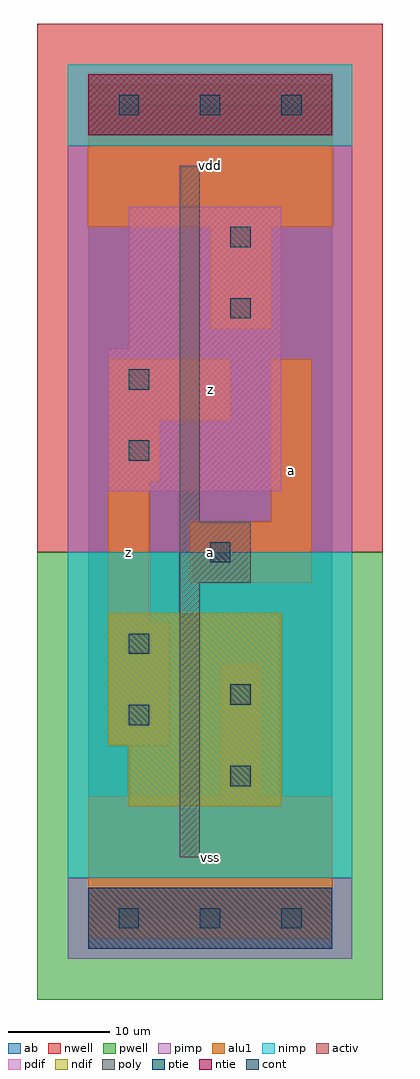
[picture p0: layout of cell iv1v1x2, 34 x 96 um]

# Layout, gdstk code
import gdstk
lib = gdstk.Library(unit=1e-6, precision=1e-09)
def R(c, l, rs):  # rectangles x0, y0, x1, y1
    for r in rs: c.add(gdstk.rectangle(r[:2], r[2:], *l))
def A(c, l, x, y, w, h, nx, ny, dx, dy):  # array of equal rectangles
    R(c, l, [(x+i*dx, y+j*dy, x+i*dx+w, y+j*dy+h) for i in range(nx) for j in range(ny)])
ndif = (3, 0)
pdif = (4, 0)
ntie = (5, 0)
ptie = (6, 0)
cont = (25, 0)
pwell = (41, 0)
nwell = (42, 0)
activ = (43, 0)
pimp = (44, 0)
nimp = (45, 0)
poly = (46, 0)
alu1 = (49, 0)
ab = (63, 0)

iv1v1x2 = lib.new_cell('iv1v1x2')
R(iv1v1x2, ndif, [(4,11,19,17), (2,17,19,30)])
R(iv1v1x2, pdif, [(2,42,19,56), (4,56,19,70)])
R(iv1v1x2, ntie, [(0,77,24,83)])
R(iv1v1x2, ptie, [(0,-3,24,3)])
A(iv1v1x2, cont, 3, -1, 2, 2, 3, 2, 8, 80)
R(iv1v1x2, cont, [(14,13,16,15), (4,19,6,21), (14,21,16,23), (4,26,6,28), (12,35,14,37), (4,45,6,47), (4,52,6,54), (14,59,16,61), (14,66,16,68)])
R(iv1v1x2, pwell, [(-5,-8,29,36)])
R(iv1v1x2, nwell, [(-5,36,29,88)])
R(iv1v1x2, activ, [(0,-3,24,3), (4,11,19,17), (2,17,19,30), (2,42,19,56), (4,56,19,70), (0,77,24,83)])
R(iv1v1x2, pimp, [(-2,-4,26,4), (-2,36,26,76)])
R(iv1v1x2, nimp, [(-2,4,26,36), (-2,76,26,84)])
R(iv1v1x2, poly, [(9,6,11,33), (9,33,16,39), (9,39,11,74)])
R(iv1v1x2, alu1, [(0,-2,24,12), (13,12,17,25), (2,17,8,29), (2,29,6,43), (10,33,22,39), (18,39,22,55), (2,43,7,49), (2,49,14,55), (12,58,18,68), (0,68,24,82)])
R(iv1v1x2, ab, [(0,0,24,80)])
iv1v1x2.add(gdstk.Label('z', (4,36), layer=49, texttype=0))
iv1v1x2.add(gdstk.Label('vss', (12,6), layer=49, texttype=0))
iv1v1x2.add(gdstk.Label('a', (12,36), layer=49, texttype=0))
iv1v1x2.add(gdstk.Label('z', (12,52), layer=49, texttype=0))
iv1v1x2.add(gdstk.Label('vdd', (12,74), layer=49, texttype=0))
iv1v1x2.add(gdstk.Label('a', (20,44), layer=49, texttype=0))

lib.write_gds('iv1v1x2.gds')
